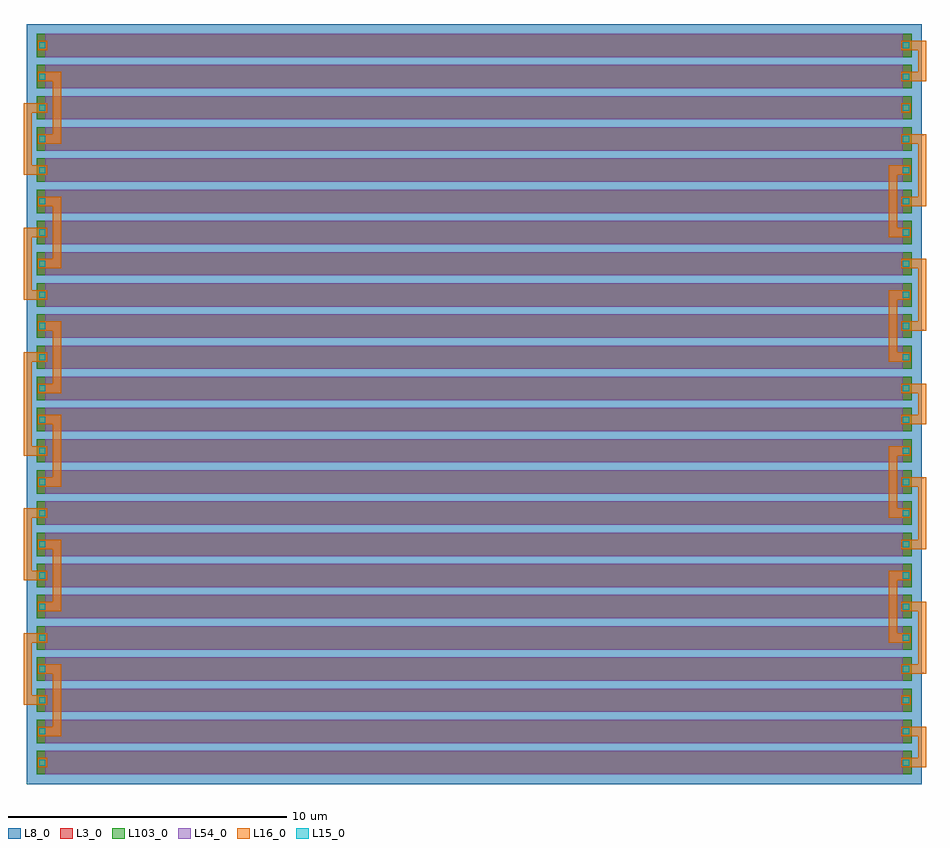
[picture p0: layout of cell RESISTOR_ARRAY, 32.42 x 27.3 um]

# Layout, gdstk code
import gdstk
lib = gdstk.Library(unit=1e-6, precision=1e-09)
def R(c, l, rs):  # rectangles x0, y0, x1, y1
    for r in rs: c.add(gdstk.rectangle(r[:2], r[2:], *l))
def A(c, l, x, y, w, h, nx, ny, dx, dy):  # array of equal rectangles
    R(c, l, [(x+i*dx, y+j*dy, x+i*dx+w, y+j*dy+h) for i in range(nx) for j in range(ny)])
L3_0 = (3, 0)
L8_0 = (8, 0)
L15_0 = (15, 0)
L16_0 = (16, 0)
L54_0 = (54, 0)
L103_0 = (103, 0)

resistor_array = lib.new_cell('RESISTOR_ARRAY')
A(resistor_array, L3_0, -0.32, 0, 31.44, 0.84, 1, 24, 0, 1.12)
A(resistor_array, L8_0, -0.67, -0.35, 32.14, 1.54, 1, 24, 0, 1.12)
A(resistor_array, L15_0, -0.22, 0.31, 0.22, 0.22, 1, 24, 0, 1.12)
A(resistor_array, L15_0, 30.8, 0.31, 0.22, 0.22, 1, 24, 0, 1.12)
A(resistor_array, L16_0, -0.28, 0.25, 0.34, 0.34, 1, 24, 0, 1.12)
A(resistor_array, L16_0, 30.74, 0.25, 0.34, 0.34, 1, 24, 0, 1.12)
A(resistor_array, L16_0, 31.35, 0.25, 0.29, 1.46, 1, 3, 0, 12.32)
A(resistor_array, L16_0, -0.28, 1.37, 0.79, 0.34, 1, 6, 0, 2.24)
A(resistor_array, L16_0, 0.27, 1.37, 0.29, 2.58, 1, 3, 0, 4.48)
A(resistor_array, L16_0, 30.8, 1.37, 0.79, 0.34, 1, 6, 0, 2.24)
A(resistor_array, L16_0, -0.49, 2.49, 0.21, 0.34, 1, 5, 0, 2.24)
A(resistor_array, L16_0, 30.59, 4.73, 0.21, 0.34, 1, 4, 0, 2.24)
A(resistor_array, L16_0, -0.28, 13.69, 0.79, 0.34, 1, 6, 0, 2.24)
A(resistor_array, L16_0, 0.27, 13.69, 0.29, 2.58, 1, 3, 0, 4.48)
A(resistor_array, L16_0, 30.8, 13.69, 0.79, 0.34, 1, 6, 0, 2.24)
A(resistor_array, L16_0, -0.49, 14.81, 0.21, 0.34, 1, 5, 0, 2.24)
A(resistor_array, L16_0, 30.59, 14.81, 0.21, 0.34, 1, 4, 0, 2.24)
R(resistor_array, L16_0, [(30.8,0.25,31.59,0.59), (-0.78,2.49,-0.49,5.07), (31.35,3.61,31.64,6.19), (30.3,4.73,30.59,7.31), (-0.78,6.97,-0.49,9.55), (31.35,8.09,31.64,10.67), (30.3,9.21,30.59,11.79), (-0.78,11.45,-0.49,15.15), (30.3,14.81,30.59,17.39), (31.35,15.93,31.64,18.51), (-0.78,17.05,-0.49,19.63), (30.3,19.29,30.59,21.87), (31.35,20.41,31.64,22.99), (-0.78,21.53,-0.49,24.11), (30.8,26.01,31.59,26.35)])
A(resistor_array, L54_0, 0, 0, 30.8, 0.84, 1, 24, 0, 1.12)
A(resistor_array, L103_0, -0.32, 0, 31.44, 0.84, 1, 24, 0, 1.12)

lib.write_gds('RESISTOR_ARRAY.gds')
